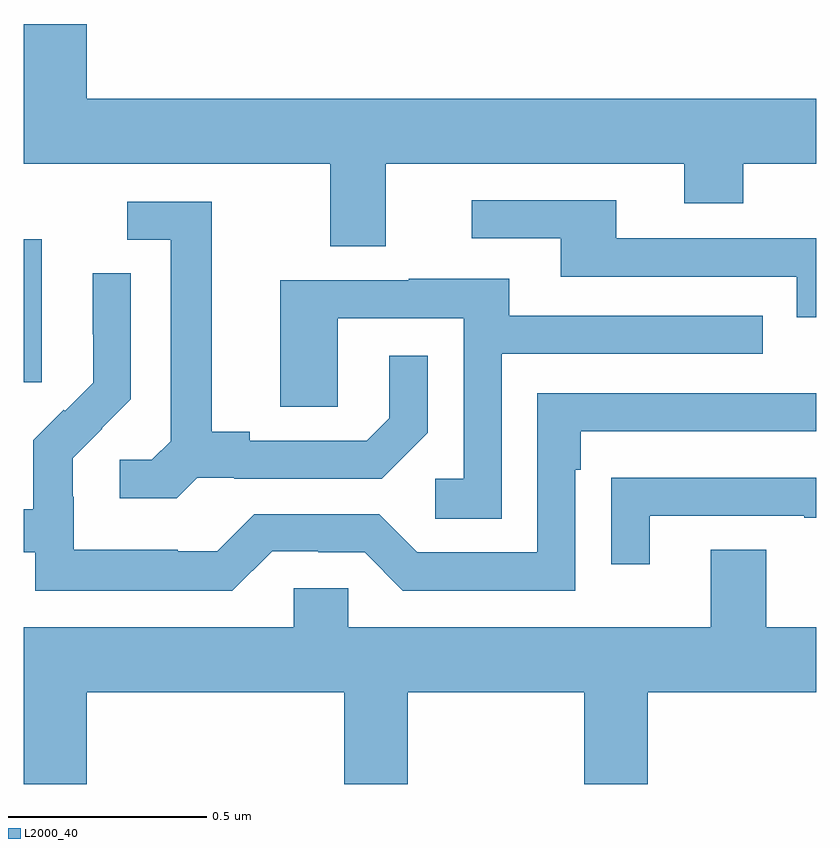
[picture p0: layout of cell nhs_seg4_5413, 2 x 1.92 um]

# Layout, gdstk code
import gdstk
lib = gdstk.Library(unit=1e-6, precision=1e-09)
def R(c, l, rs):  # rectangles x0, y0, x1, y1
    for r in rs: c.add(gdstk.rectangle(r[:2], r[2:], *l))
def P(c, l, *ps):  # polygons
    for p in ps: c.add(gdstk.Polygon(p, *l))
L2000_40 = (2000, 40)

nhs_seg4_5413 = lib.new_cell('nhs_seg4_5413')
R(nhs_seg4_5413, L2000_40, [(177,818.913,177.046,819.274)])
P(nhs_seg4_5413, L2000_40, [(177.913,819.464),(178.667,819.464),(178.667,819.365),(178.815,819.365),(178.815,819.464),(179,819.464),(179,819.628),(177.16,819.628),(177.16,819.817),(177,819.817),(177,819.464),(177.773,819.464),(177.773,819.256),(177.913,819.256)],
  [(179,819.276),(178.495,819.276),(178.495,819.372),(178.131,819.372),(178.131,819.276),(178.355,819.276),(178.355,819.18),(178.95,819.18),(178.95,819.077),(179,819.077)],
  [(177.438,818.673),(177.532,818.673),(177.532,818.67),(177.904,818.67),(178.02,818.786),(178.02,818.98),(177.923,818.98),(177.923,818.823),(177.866,818.766),(177.571,818.766),(177.571,818.789),(177.475,818.789),(177.475,819.369),(177.261,819.369),(177.261,819.273),(177.371,819.273),(177.371,818.765),(177.324,818.718),(177.243,818.718),(177.243,818.621),(177.386,818.621)],
  [(177.627,818.487),(177.743,818.487),(177.743,818.484),(177.861,818.484),(177.957,818.388),(178.392,818.388),(178.392,818.693),(178.405,818.693),(178.405,818.79),(179,818.79),(179,818.886),(178.296,818.886),(178.296,818.484),(177.993,818.484),(177.897,818.58),(177.582,818.58),(177.489,818.487),(177.389,818.487),(177.389,818.491),(177.126,818.491),(177.126,818.625),(177.124,818.625),(177.124,818.722),(177.198,818.796),(177.197,818.797),(177.27,818.87),(177.27,819.188),(177.174,819.188),(177.174,819.034),(177.176,819.034),(177.176,818.912),(177.105,818.841),(177.102,818.844),(177.025,818.767),(177.025,818.593),(177,818.593),(177,818.484),(177.03,818.484),(177.03,818.387),(177.527,818.387)],
  [(178.206,818.985),(178.865,818.985),(178.865,819.081),(178.225,819.081),(178.225,819.175),(177.971,819.175),(177.971,819.171),(177.647,819.171),(177.647,818.851),(177.792,818.851),(177.792,819.075),(178.11,819.075),(178.11,818.67),(178.038,818.67),(178.038,818.569),(178.206,818.569)],
  [(178.579,818.577),(178.969,818.577),(178.969,818.572),(179,818.572),(179,818.673),(178.585,818.673),(178.585,818.672),(178.483,818.672),(178.483,818.454),(178.579,818.454)],
  [(177.16,818.132),(177.809,818.132),(177.809,817.9),(177.969,817.9),(177.969,818.132),(178.414,818.132),(178.414,817.9),(178.574,817.9),(178.574,818.132),(179,818.132),(179,818.296),(178.873,818.296),(178.873,818.491),(178.733,818.491),(178.733,818.296),(177.819,818.296),(177.819,818.394),(177.681,818.394),(177.681,818.296),(177,818.296),(177,817.9),(177.16,817.9)])

lib.write_gds('nhs_seg4_5413.gds')
